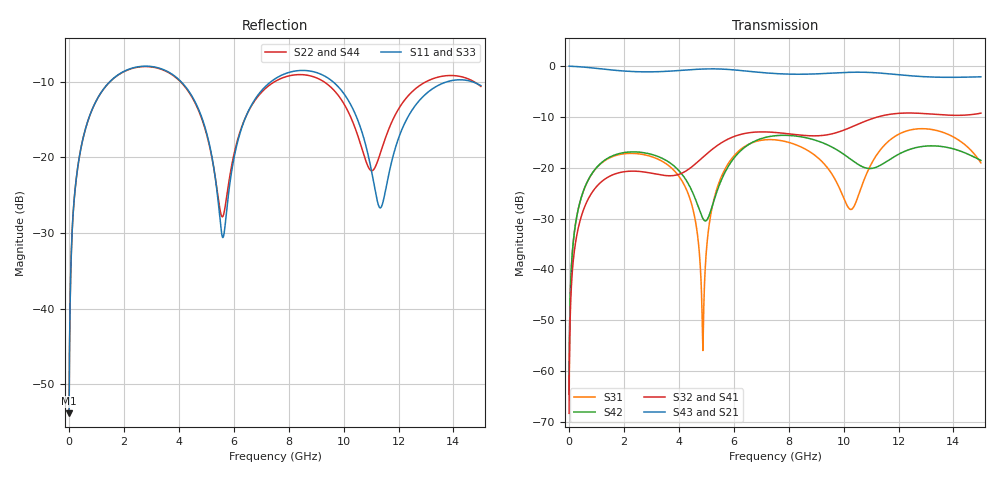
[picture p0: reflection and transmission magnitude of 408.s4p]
! Created with skrf 1.8.0 (http://scikit-rf.org).
# GHz S RI R 50.0
!freq ReS11 ImS11 ReS12 ImS12 ReS13 ImS13
! ReS14 ImS14
! ReS21 ImS21 ReS22 ImS22 ReS23 ImS23
! ReS24 ImS24
! ReS31 ImS31 ReS32 ImS32 ReS33 ImS33
! ReS34 ImS34
! ReS41 ImS41 ReS42 ImS42 ReS43 ImS43
! ReS44 ImS44
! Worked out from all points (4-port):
!   2499 points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, 5 MHz to 15 GHz, reference 50 ohm
!   strongest paths, dB at 5 MHz, 3.476 GHz, 7.19 GHz, 11.1 GHz, 15 GHz:
!     S43: 0.0, -1.0, -1.3, -1.3, -2.1
!     S21: 0.0, -1.1, -1.3, -1.3, -2.1
!     S32: -68.3, -21.5, -13.0, -10.2, -9.3
!     S41: -68.3, -21.5, -13.0, -10.2, -9.3
!     S42: -64.5, -18.4, -14.0, -20.0, -18.5
!     S31: -64.5, -19.0, -14.5, -18.4, -19.0
!   lowest |S11| = -53.9 dB at 5 MHz (marker M1), VSWR 1.00, Z = 50.2 + j0.124 ohm
!   |S11| at or under -10 dB: start of sweep to 1.485 GHz; 4.085 GHz to 7.352 GHz (3.267 GHz wide, 57.1 % of centre); 9.613 GHz to 13.77 GHz (4.153 GHz wide, 35.5 % of centre) (the widest 3 of 4)
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0.005  0.00161 0.00123  0.9984 -0.00313  7.9e-05 0.00059  -7.71e-05 -0.000377
       0.9984 -0.00313  0.00161 0.00123  -7.71e-05 -0.000377  7.91e-05 0.00059
       7.9e-05 0.00059  -7.71e-05 -0.000377  0.00161 0.00123  0.9984 -0.00313
       -7.71e-05 -0.000377  7.91e-05 0.00059  0.9984 -0.00313  0.00161 0.00123
0.3126303  0.0233 0.0811  0.9683 -0.1952  0.00964 0.0352  -0.00834 -0.0222
           0.9683 -0.1952  0.0232 0.0811  -0.00835 -0.0222  0.0102 0.035
           0.00964 0.0352  -0.00835 -0.0222  0.0233 0.0811  0.9683 -0.1952
           -0.00834 -0.0222  0.0102 0.035  0.9683 -0.1952  0.0232 0.0811
1.519383  0.2616 0.1855  0.5743 -0.7161  0.11 0.0626  -0.0829 -0.0105
          0.5743 -0.7161  0.2593 0.1869  -0.0829 -0.0105  0.1169 0.0538
          0.11 0.0626  -0.0829 -0.0105  0.2615 0.1855  0.5743 -0.7161
          -0.0829 -0.0105  0.1169 0.0538  0.5743 -0.7161  0.2593 0.1869
4.877032  0.0891 -0.1503  -0.8305 -0.4311  0.00138 0.000801  -0.0549 0.1144
          -0.8305 -0.4311  0.0976 -0.1407  -0.0545 0.1147  -0.0267 -0.0171
          0.00138 0.000801  -0.0545 0.1147  0.0882 -0.1496  -0.8307 -0.431
          -0.0549 0.1144  -0.0267 -0.0171  -0.8307 -0.431  0.0975 -0.1396
5.814923  0.0394 0.0429  -0.923 0.0787  0.0333 0.1066  0.0265 0.1908
          -0.923 0.0787  0.0505 0.0446  0.0272 0.1909  0.021 0.1026
          0.0333 0.1066  0.0272 0.1909  0.0385 0.0441  -0.9229 0.0788
          0.0265 0.1908  0.021 0.1026  -0.9229 0.0788  0.0515 0.0458
8.684869  0.37 -0.0568  0.026 0.8329  0.1451 -0.0319  0.1941 -0.0699
          0.026 0.8329  0.3474 -0.0349  0.1942 -0.0716  0.1407 -0.1365
          0.1451 -0.0319  0.1942 -0.0716  0.3699 -0.055  0.0249 0.8329
          0.1941 -0.0699  0.1407 -0.1365  0.0249 0.8329  0.3478 -0.0359
15  0.2852 -0.0868  -0.2544 -0.7422  0.0226 -0.1096  -0.3176 0.1319
    -0.2544 -0.7422  0.2743 -0.1069  -0.3161 0.137  -0.00403 -0.1182
    0.0226 -0.1096  -0.3161 0.137  0.2871 -0.0796  -0.2497 -0.7439
    -0.3176 0.1319  -0.00403 -0.1182  -0.2497 -0.7439  0.2733 -0.1108
